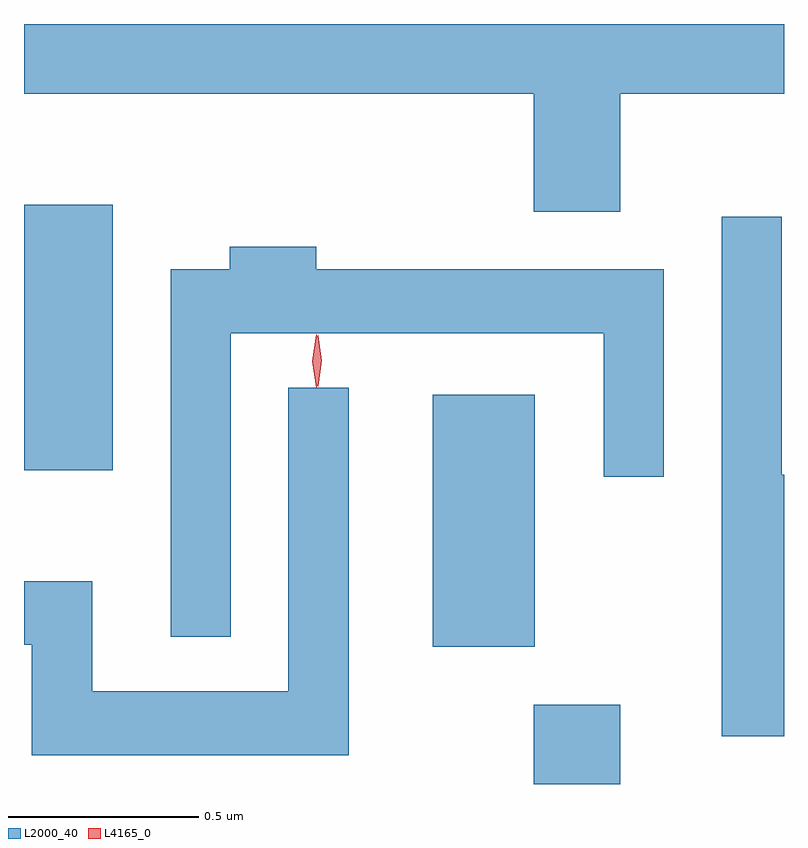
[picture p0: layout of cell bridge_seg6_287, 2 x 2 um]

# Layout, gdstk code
import gdstk
lib = gdstk.Library(unit=1e-6, precision=1e-09)
def R(c, l, rs):  # rectangles x0, y0, x1, y1
    for r in rs: c.add(gdstk.rectangle(r[:2], r[2:], *l))
def P(c, l, *ps):  # polygons
    for p in ps: c.add(gdstk.Polygon(p, *l))
L2000_40 = (2000, 40)
L4165_0 = (4165, 0)

bridge_seg6_287 = lib.new_cell('bridge_seg6_287')
R(bridge_seg6_287, L2000_40, [(1305.541,1554.88,1305.769,1555.089), (1305.276,1555.241,1305.544,1555.904), (1304.2,1555.706,1304.434,1556.404)])
P(bridge_seg6_287, L2000_40, [(1305.769,1556.696),(1306.2,1556.696),(1306.2,1556.88),(1304.2,1556.88),(1304.2,1556.696),(1305.541,1556.696),(1305.541,1556.386),(1305.769,1556.386)],
  [(1306.2,1555.694),(1306.194,1555.694),(1306.194,1556.373),(1306.036,1556.373),(1306.036,1555.006),(1306.2,1555.006)],
  [(1304.744,1556.066),(1305.726,1556.066),(1305.726,1555.688),(1305.884,1555.688),(1305.884,1556.234),(1304.969,1556.234),(1304.969,1556.294),(1304.741,1556.294),(1304.741,1556.234),(1304.586,1556.234),(1304.586,1555.268),(1304.744,1555.268)],
  [(1305.054,1555.923),(1304.896,1555.923),(1304.896,1555.124),(1304.379,1555.124),(1304.379,1555.414),(1304.2,1555.414),(1304.2,1555.246),(1304.221,1555.246),(1304.221,1554.956),(1305.054,1554.956)])
P(bridge_seg6_287, L4165_0, [(1304.973,1555.927),(1304.964,1555.994),(1304.973,1556.06),(1304.974,1556.061),(1304.974,1556.06),(1304.984,1555.994),(1304.974,1555.927),(1304.974,1555.927)],
  [(1304.969,1555.924),(1304.959,1555.993),(1304.969,1556.062),(1304.969,1556.063),(1304.97,1556.062),(1304.979,1555.993),(1304.97,1555.924),(1304.97,1555.924)])

lib.write_gds('bridge_seg6_287.gds')
